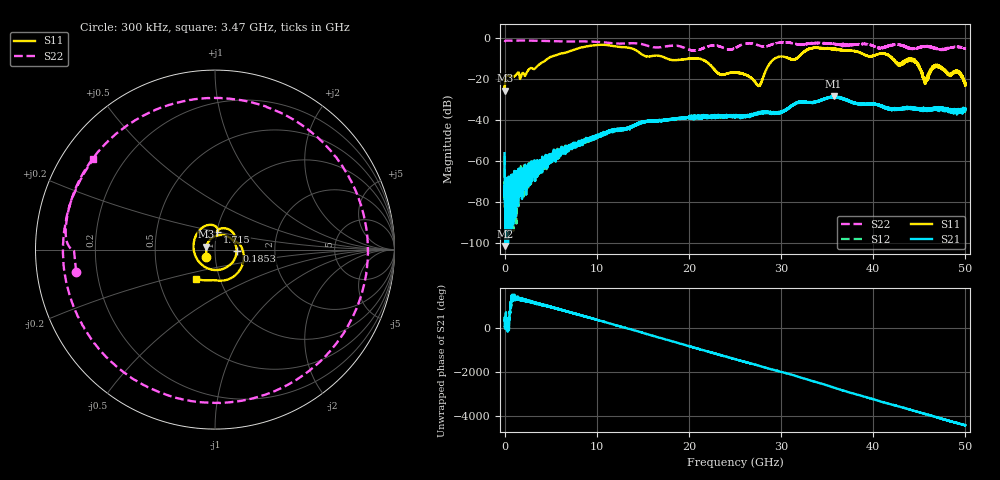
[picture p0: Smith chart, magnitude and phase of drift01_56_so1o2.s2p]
!Created with skrf (http://scikit-rf.org).
# Hz S RI R 50.0
!freq ReS11 ImS11 ReS21 ImS21 ReS12 ImS12 ReS22 ImS22
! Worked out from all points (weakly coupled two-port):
!   10001 points, 300 kHz to 50 GHz, reference 50 ohm
!   highest |S21| = -28.61 dB at 35.7 GHz (marker M1); lowest = -101.7 dB at 95.3 MHz (marker M2)
!   lowest |S11| = -25.8 dB at 5.3 MHz (marker M3), VSWR 1.11, Z = 45.3 + j1.41 ohm
!   |S11| at or under -10 dB: start of sweep to 4.764 GHz; 17.51 GHz to 29.37 GHz (11.86 GHz wide, 50.6 % of centre); 42.04 GHz to end of sweep (the widest 3 of 10)
!   |S22| runs from -6.4 to -1.4 dB; largest |S21 - S12| = 0.0045
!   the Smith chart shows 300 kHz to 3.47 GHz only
!   S11 on the Smith chart (normalised r, x): 300 kHz: 0.91, -0.07; 185.3 MHz: 1.27, -0.02; 1.715 GHz: 1.00, +0.20; 3.47 GHz: 0.77, -0.26
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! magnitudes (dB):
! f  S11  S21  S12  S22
! 300 kHz  -24.0  -56.4  -57.8  -2.1
! 5.3 MHz  -25.8  -77.2  -76.0  -2.1
! 95.3 MHz  -19.1  -101.7  -77.5  -1.5
! 185.3 MHz  -18.4  -69.7  -75.8  -1.4
! 440.3 MHz  -18.6  -75.0  -79.8  -1.4
! 1.715 GHz  -19.9  -67.4  -67.3  -1.4
! 3.47 GHz  -14.3  -63.5  -62.9  -1.5
! 8.335 GHz  -4.8  -50.8  -51.4  -1.8
! 16.67 GHz  -8.7  -40.5  -40.5  -4.8
! 25 GHz  -17.0  -38.2  -37.8  -5.1
! 27.59 GHz  -23.5  -36.2  -36.8  -3.8
! 29.3 GHz  -10.2  -36.9  -36.8  -2.9
! 31.48 GHz  -10.7  -32.4  -32.3  -2.9
! 33.34 GHz  -5.1  -31.8  -31.4  -2.7
! 35.7 GHz  -5.7  -28.6  -28.9  -3.0
! 41.67 GHz  -8.7  -34.9  -34.8  -3.9
! 42.79 GHz  -12.7  -35.0  -34.9  -3.5
! 44.48 GHz  -10.6  -34.4  -34.3  -5.3
! 45.64 GHz  -20.2  -35.6  -35.2  -4.2
! 46.96 GHz  -13.4  -34.3  -34.6  -5.5
! 49.25 GHz  -17.2  -35.6  -35.8  -4.5
! 50 GHz  -22.4  -34.6  -34.3  -5.3
